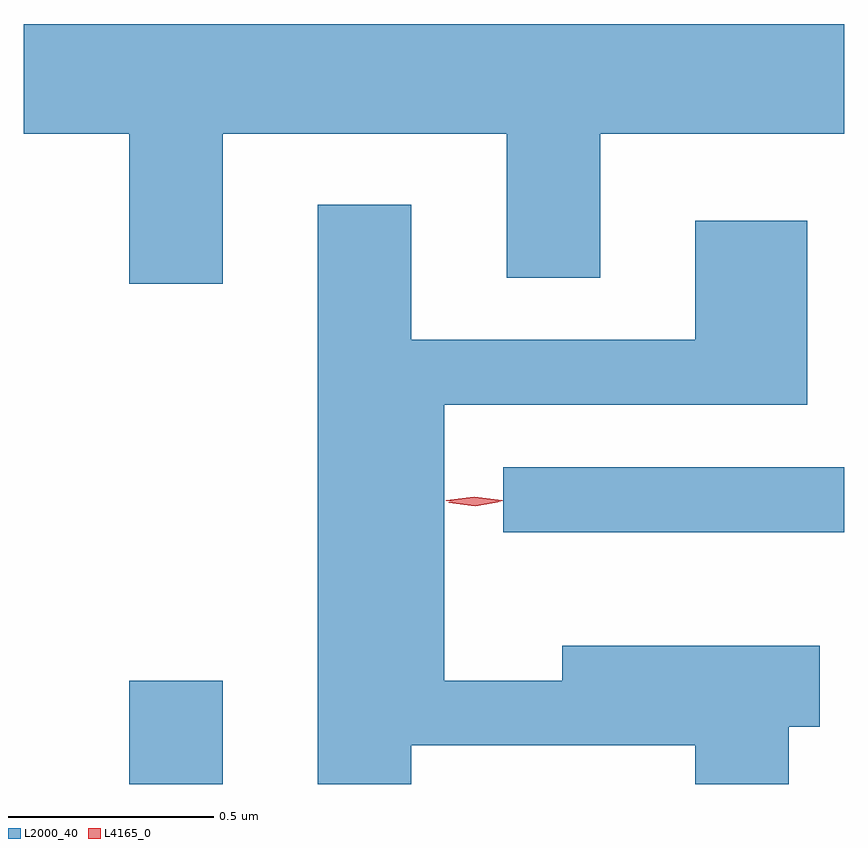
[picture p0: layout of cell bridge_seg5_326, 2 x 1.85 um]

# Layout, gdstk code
import gdstk
lib = gdstk.Library(unit=1e-6, precision=1e-09)
def R(c, l, rs):  # rectangles x0, y0, x1, y1
    for r in rs: c.add(gdstk.rectangle(r[:2], r[2:], *l))
def P(c, l, *ps):  # polygons
    for p in ps: c.add(gdstk.Polygon(p, *l))
L2000_40 = (2000, 40)
L4165_0 = (4165, 0)

bridge_seg5_326 = lib.new_cell('bridge_seg5_326')
R(bridge_seg5_326, L2000_40, [(718.151,1484.072,718.379,1484.324), (719.063,1484.686,719.894,1484.844)])
P(bridge_seg5_326, L2000_40, [(718.379,1485.656),(719.071,1485.656),(719.071,1485.306),(719.299,1485.306),(719.299,1485.656),(719.894,1485.656),(719.894,1485.924),(717.894,1485.924),(717.894,1485.656),(718.151,1485.656),(718.151,1485.291),(718.379,1485.291)],
  [(718.839,1484.166),(719.531,1484.166),(719.531,1484.072),(719.759,1484.072),(719.759,1484.211),(719.834,1484.211),(719.834,1484.409),(719.206,1484.409),(719.206,1484.324),(718.919,1484.324),(718.919,1484.996),(719.804,1484.996),(719.804,1485.444),(719.531,1485.444),(719.531,1485.154),(718.839,1485.154),(718.839,1485.484),(718.611,1485.484),(718.611,1484.072),(718.839,1484.072)])
P(bridge_seg5_326, L4165_0, [(718.994,1484.749),(718.93,1484.757),(718.93,1484.758),(718.93,1484.758),(718.994,1484.769),(719.057,1484.76),(719.057,1484.76),(719.057,1484.76)],
  [(718.992,1484.752),(718.924,1484.762),(718.923,1484.762),(718.924,1484.763),(718.992,1484.772),(719.06,1484.763),(719.061,1484.762),(719.06,1484.762)])

lib.write_gds('bridge_seg5_326.gds')
